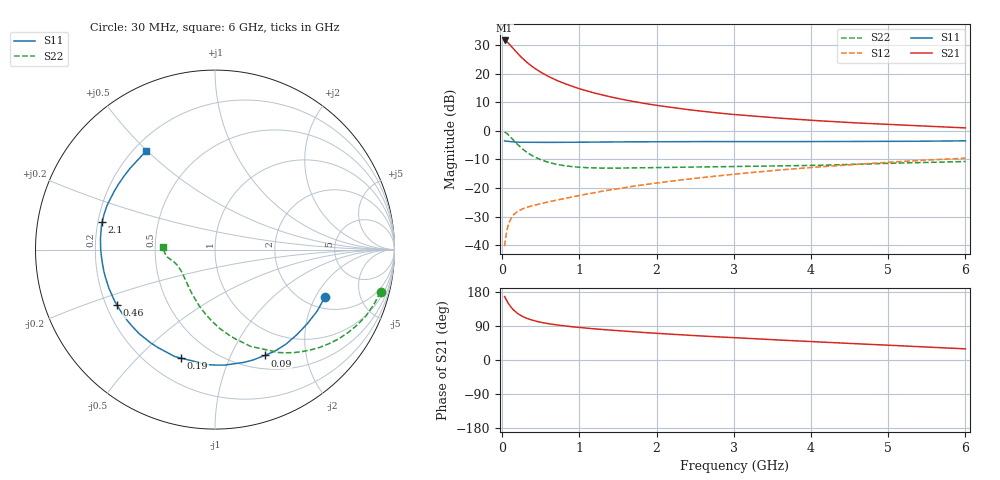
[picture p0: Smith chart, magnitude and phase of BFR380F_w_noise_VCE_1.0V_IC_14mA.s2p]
! Infineon Technologies  Discrete & RF Semiconductors
! BFR380F
! VCE =  1.0 V,  IC =  14 mA
! Common Emitter S-Parameters:  Nov 2015
# GHz  S  MA  R  50
!  f  S11  S21  S12  S22
! GHz  MAG  ANG  MAG  ANG  MAG  ANG  MAG  ANG
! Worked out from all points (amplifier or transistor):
!   206 points, 30 MHz to 6 GHz, reference 50 ohm
!   highest |S21| = 31.6 dB at 30 MHz (marker M1)
!   |S21| within 3 dB of that: start of sweep to 147.7 MHz
!   unconditionally stable (mu >= 1): 1.404 GHz to end of sweep
!   at 200 MHz: K = 0.30, MSG = 27.6 dB, |S12| = -28.2 dB
!   at 1.56 GHz: K = 1.02, MAG = 14.6 dB, |S12| = -20.0 dB
!   at 6 GHz: K = 1.01, MAG = 4.8 dB, |S12| = -9.6 dB
!   lowest NFmin = 0.94 dB at 900 MHz
!   S11 on the Smith chart (normalised r, x): 30 MHz: 2.51, -2.40; 90 MHz: 0.66, -1.35; 190 MHz: 0.34, -0.68; 460 MHz: 0.24, -0.25; 2.1 GHz: 0.22, +0.11; 6 GHz: 0.25, +0.50
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0.03  0.6668 -23.5  38.16 167.5  0.0096 80.1  0.9521 -14.4
0.05  0.6594 -38.9  37.04 159.2  0.0153 73.6  0.9193 -23.6
0.07  0.6586 -52.9  35.12 152.1  0.0208 68.2  0.8734 -32.0
0.09  0.6515 -64.9  32.97 145.9  0.0251 63.3  0.8231 -39.6
0.11  0.6487 -75.6  30.85 140.3  0.0287 59.3  0.771 -46.5
0.14  0.6434 -89.7  27.75 133.2  0.0332 54.5  0.6976 -55.5
0.19  0.6333 -107.3  23.29 124.3  0.0381 49.3  0.5924 -67.2
0.2  0.6366 -110.7  22.48 122.3  0.0391 48.4  0.5745 -69.8
0.24  0.6316 -120.3  19.83 117.5  0.0418 46.3  0.5124 -76.9
0.3  0.6309 -132.1  16.6 111.2  0.0451 44.6  0.4396 -86.6
0.36  0.6286 -140.3  14.25 106.9  0.0478 44.0  0.3881 -94.1
0.46  0.6283 -150.5  11.45 101.2  0.0518 44.5  0.3292 -104.8
0.6  0.6289 -159.9  8.919 95.6  0.0572 46.7  0.2809 -116.4
0.7  0.6295 -164.6  7.701 92.7  0.0612 48.4  0.2603 -123.1
1.04  0.6335 -175.7  5.257 85.0  0.0759 53.6  0.2291 -139.2
1.4  0.6391 176.7  3.929 78.8  0.0927 57.2  0.2228 -149.4
2.02  0.647 167.4  2.769 70.2  0.1234 60.4  0.228 -157.9
2.1  0.6469 166.4  2.674 69.2  0.1274 60.6  0.229 -158.6
3.1  0.6487 155.6  1.885 57.9  0.1796 61.0  0.2396 -163.8
4.1  0.6496 145.1  1.502 47.5  0.2337 58.6  0.2498 -166.3
5.1  0.6554 135.2  1.277 38.1  0.287 55.0  0.2724 -172.4
6  0.6698 124.9  1.126 29.4  0.3323 50.2  0.2906 176.9
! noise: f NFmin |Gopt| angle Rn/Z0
0.45  0.96  0.12  161  0.08
0.9  0.94  0.2  154  0.08
1.8  1.18  0.33  176  0.07
1.9  1.26  0.34  176  0.07
2.4  1.38  0.37  -171  0.08
3.5  1.98  0.48  -157  0.11
